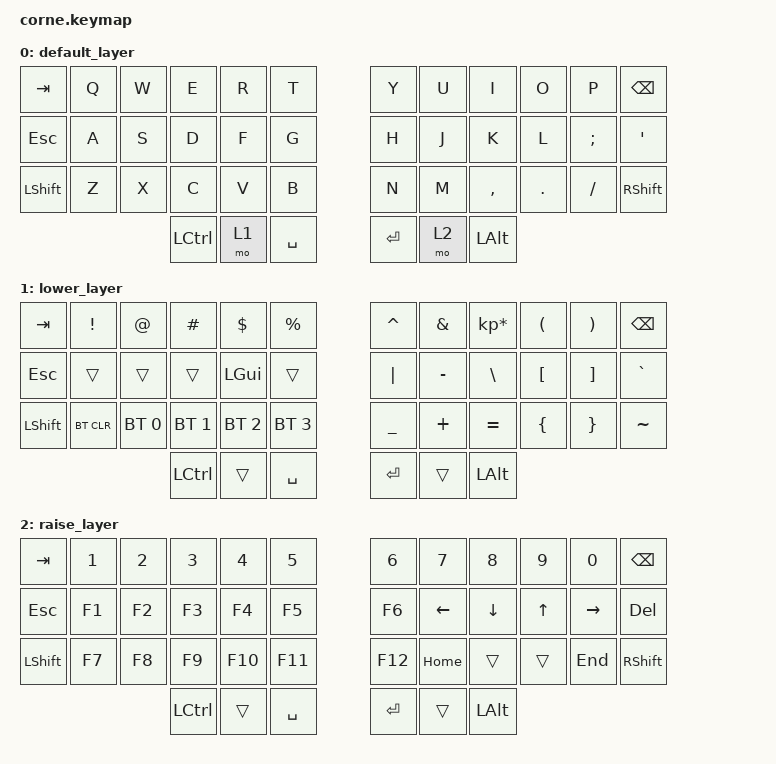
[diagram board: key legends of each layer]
/*
 * Copyright (c) 2020 The ZMK Contributors
 *
 * SPDX-License-Identifier: MIT
 */

#include <behaviors.dtsi>
#include <dt-bindings/zmk/keys.h>
#include <dt-bindings/zmk/bt.h>

/ {
        keymap {
                compatible = "zmk,keymap";

                default_layer {
// -----------------------------------------------------------------------------------------
// |  TAB |  Q  |  W  |  E  |  R  |  T  |   |  Y  |  U   |  I  |  O  |  P  | BKSP |
// | CTRL |  A  |  S  |  D  |  F  |  G  |   |  H  |  J   |  K  |  L  |  ;  |  '   |
// | SHFT |  Z  |  X  |  C  |  V  |  B  |   |  N  |  M   |  ,  |  .  |  /  | ESC  |
//                    | GUI | LWR | SPC |   | ENT | RSE  | ALT |
                        bindings = <
   &kp TAB   &kp Q &kp W &kp E &kp R &kp T     &kp Y &kp U  &kp I     &kp O   &kp P    &kp BSPC
   &kp ESC   &kp A &kp S &kp D &kp F &kp G     &kp H &kp J  &kp K     &kp L   &kp SEMI &kp SQT
   &kp LSHFT &kp Z &kp X &kp C &kp V &kp B     &kp N &kp M  &kp COMMA &kp DOT &kp FSLH &kp RSHIFT
                  &kp LCTRL &mo 1 &kp SPACE    &kp RET &mo 2 &kp LALT
                        >;
                };
                lower_layer {
// -----------------------------------------------------------------------------------------
// |  TAB |  !  |  @  |  #  |  $  |  %  |   |  ^  |  &  |  *  |  (  |  )  | BKSP |
// | CTRL |     |     |     |     |     |   |  -  |  =  |  [  |  ]  |  \  |  `   |
// | SHFT |     |     |     |     |     |   |  _  |  +  |  {  |  }  | "|" |  ~   |
//                    | GUI |     | SPC |   | ENT |     | ALT |
                        bindings = <
   &kp TAB   &kp EXCL     &kp AT       &kp HASH     &kp DLLR     &kp PRCNT        &kp CARET &kp AMPS  &kp KP_MULTIPLY &kp LPAR &kp RPAR &kp BSPC
   &kp ESC   &trans       &trans       &trans       &kp LGUI     &trans           &kp PIPE  &kp MINUS &kp BSLH        &kp LBKT &kp RBKT &kp GRAVE
   &kp LSHFT &bt BT_CLR   &bt BT_SEL 0 &bt BT_SEL 1 &bt BT_SEL 2 &bt BT_SEL 3     &kp UNDER &kp PLUS  &kp EQUAL       &kp LBRC &kp RBRC &kp TILDE
                                       &kp LCTRL    &trans       &kp SPACE        &kp RET   &trans    &kp LALT
                        >;
                };

                raise_layer {
// -----------------------------------------------------------------------------------------
// |  TAB |  1  |  2  |  3  |  4  |  5  |   |  6  |  7  |  8  |  9  |  0  | BKSP |
// | BTCLR| BT1 | BT2 | BT3 | BT4 | BT5 |   | LFT | DWN |  UP | RGT |     |      |
// | SHFT |     |     |     |     |     |   |     |     |     |     |     |      |
//                    | GUI |     | SPC |   | ENT |     | ALT |
                        bindings = <
   &kp TAB    &kp N1       &kp N2       &kp N3       &kp N4       &kp N5           &kp N6   &kp N7   &kp N8   &kp N9    &kp N0    &kp BSPC
   &kp ESC    &kp F1       &kp F2       &kp F3       &kp F4       &kp F5           &kp F6   &kp LEFT &kp DOWN &kp UP    &kp RIGHT &kp DEL
   &kp LSHFT  &kp F7       &kp F8       &kp F9       &kp F10      &kp F11          &kp F12  &kp HOME &trans   &trans    &kp END   &kp RSHIFT
                                        &kp LCTRL    &trans       &kp SPACE        &kp RET  &trans   &kp LALT
                        >;
                };
        };
};
